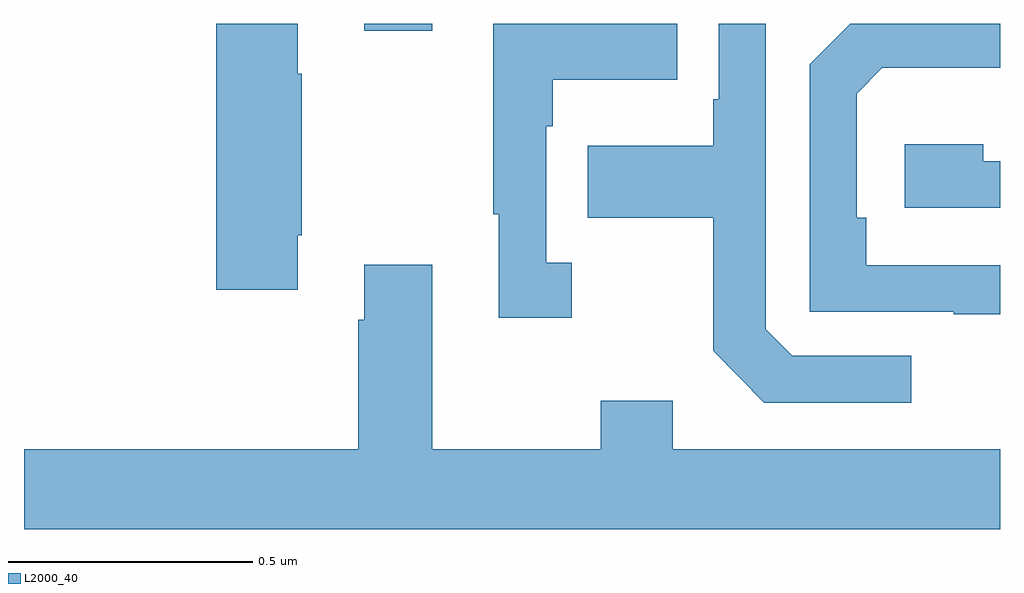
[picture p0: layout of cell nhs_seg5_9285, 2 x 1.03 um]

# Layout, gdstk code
import gdstk
lib = gdstk.Library(unit=1e-6, precision=1e-09)
def R(c, l, rs):  # rectangles x0, y0, x1, y1
    for r in rs: c.add(gdstk.rectangle(r[:2], r[2:], *l))
def P(c, l, *ps):  # polygons
    for p in ps: c.add(gdstk.Polygon(p, *l))
L2000_40 = (2000, 40)

nhs_seg5_9285 = lib.new_cell('nhs_seg5_9285')
R(nhs_seg5_9285, L2000_40, [(232.697,853.785,232.837,853.799)])
P(nhs_seg5_9285, L2000_40, [(234,853.305),(233.726,853.305),(233.726,853.402),(233.706,853.402),(233.706,853.656),(233.759,853.709),(234,853.709),(234,853.799),(233.693,853.799),(233.61,853.716),(233.61,853.209),(233.905,853.209),(233.905,853.204),(234,853.204)],
  [(233.122,853.31),(233.07,853.31),(233.07,853.589),(233.083,853.589),(233.083,853.685),(233.339,853.685),(233.339,853.799),(232.962,853.799),(232.962,853.409),(232.973,853.409),(232.973,853.197),(233.122,853.197)],
  [(232.561,853.366),(232.569,853.366),(232.569,853.697),(232.561,853.697),(232.561,853.799),(232.394,853.799),(232.394,853.254),(232.561,853.254)],
  [(233.818,853.119),(233.574,853.119),(233.52,853.173),(233.52,853.799),(233.424,853.799),(233.424,853.645),(233.412,853.645),(233.412,853.549),(233.155,853.549),(233.155,853.402),(233.412,853.402),(233.412,853.129),(233.517,853.023),(233.818,853.023)],
  [(234,853.518),(233.966,853.518),(233.966,853.552),(233.805,853.552),(233.805,853.422),(234,853.422)],
  [(234,852.928),(233.329,852.928),(233.329,853.027),(233.182,853.027),(233.182,852.928),(232.837,852.928),(232.837,853.306),(232.697,853.306),(232.697,853.193),(232.685,853.193),(232.685,852.928),(232,852.928),(232,852.764),(234,852.764)])

lib.write_gds('nhs_seg5_9285.gds')
